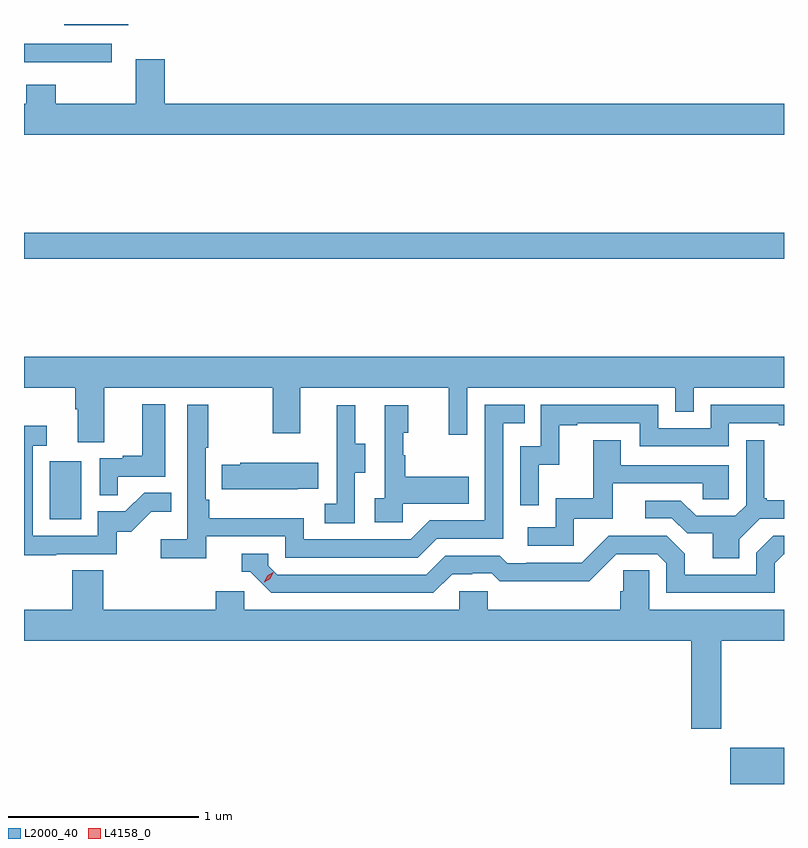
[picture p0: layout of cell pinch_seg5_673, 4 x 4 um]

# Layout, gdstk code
import gdstk
lib = gdstk.Library(unit=1e-6, precision=1e-09)
def R(c, l, rs):  # rectangles x0, y0, x1, y1
    for r in rs: c.add(gdstk.rectangle(r[:2], r[2:], *l))
def P(c, l, *ps):  # polygons
    for p in ps: c.add(gdstk.Polygon(p, *l))
L2000_40 = (2000, 40)
L4158_0 = (4158, 0)

pinch_seg5_673 = lib.new_cell('pinch_seg5_673')
R(pinch_seg5_673, L2000_40, [(1039.142,838.691,1039.424,838.882), (1035.56,840.084,1035.724,840.391), (1035.424,841.456,1039.424,841.592), (1035.424,842.49,1035.886,842.586), (1035.635,842.684,1035.973,842.691)])
P(pinch_seg5_673, L2000_40, [(1039.424,842.272),(1036.166,842.272),(1036.166,842.506),(1036.013,842.506),(1036.013,842.272),(1035.591,842.272),(1035.591,842.371),(1035.436,842.371),(1035.436,842.272),(1035.424,842.272),(1035.424,842.108),(1039.424,842.108)],
  [(1035.847,840.776),(1036.732,840.776),(1036.732,840.537),(1036.879,840.537),(1036.879,840.776),(1037.66,840.776),(1037.66,840.528),(1037.757,840.528),(1037.757,840.776),(1038.852,840.776),(1038.852,840.649),(1038.948,840.649),(1038.948,840.776),(1039.424,840.776),(1039.424,840.94),(1035.424,840.94),(1035.424,840.776),(1035.695,840.776),(1035.695,840.664),(1035.707,840.664),(1035.707,840.49),(1035.847,840.49)],
  [(1035.917,840.309),(1036.168,840.309),(1036.168,840.691),(1036.046,840.691),(1036.046,840.418),(1035.943,840.418),(1035.943,840.405),(1035.822,840.405),(1035.822,840.211),(1035.917,840.211)],
  [(1036.382,839.994),(1036.8,839.994),(1036.8,839.883),(1037.497,839.883),(1037.596,839.982),(1037.946,839.982),(1037.946,840.591),(1038.059,840.591),(1038.059,840.687),(1037.85,840.687),(1037.85,840.078),(1037.559,840.078),(1037.46,839.979),(1036.896,839.979),(1036.896,840.091),(1036.4,840.091),(1036.4,840.187),(1036.38,840.187),(1036.38,840.46),(1036.393,840.46),(1036.393,840.688),(1036.284,840.688),(1036.284,839.98),(1036.143,839.98),(1036.143,839.878),(1036.382,839.878)],
  [(1038.132,840.371),(1038.242,840.371),(1038.242,840.579),(1038.337,840.579),(1038.337,840.591),(1038.666,840.591),(1038.666,840.468),(1039.134,840.468),(1039.134,840.591),(1039.397,840.591),(1039.397,840.579),(1039.424,840.579),(1039.424,840.687),(1039.038,840.687),(1039.038,840.564),(1038.762,840.564),(1038.762,840.687),(1038.144,840.687),(1038.144,840.468),(1038.036,840.468),(1038.036,840.159),(1038.132,840.159)],
  [(1037.166,840.328),(1037.221,840.328),(1037.221,840.483),(1037.167,840.483),(1037.167,840.685),(1037.069,840.685),(1037.069,840.471),(1037.07,840.471),(1037.07,840.167),(1037.007,840.167),(1037.007,840.064),(1037.166,840.064)],
  [(1037.418,840.167),(1037.765,840.167),(1037.765,840.307),(1037.43,840.307),(1037.43,840.422),(1037.421,840.422),(1037.421,840.54),(1037.446,840.54),(1037.446,840.685),(1037.322,840.685),(1037.322,840.194),(1037.271,840.194),(1037.271,840.069),(1037.418,840.069)],
  [(1035.593,839.901),(1035.912,839.901),(1035.912,840.018),(1035.988,840.018),(1036.095,840.125),(1036.199,840.125),(1036.199,840.224),(1036.056,840.224),(1035.958,840.126),(1035.813,840.126),(1035.813,839.997),(1035.471,839.997),(1035.471,840.471),(1035.544,840.471),(1035.544,840.577),(1035.424,840.577),(1035.424,839.896),(1035.593,839.896)],
  [(1039.189,839.98),(1039.296,840.087),(1039.424,840.087),(1039.424,840.184),(1039.333,840.184),(1039.333,840.196),(1039.321,840.196),(1039.321,840.499),(1039.224,840.499),(1039.224,840.159),(1039.167,840.102),(1038.961,840.102),(1038.88,840.183),(1038.693,840.183),(1038.693,840.09),(1038.834,840.09),(1038.914,840.01),(1039.049,840.01),(1039.049,839.878),(1039.189,839.878)],
  [(1038.318,840.087),(1038.523,840.087),(1038.523,840.273),(1038.997,840.273),(1038.997,840.189),(1039.134,840.189),(1039.134,840.369),(1038.565,840.369),(1038.565,840.499),(1038.421,840.499),(1038.421,840.196),(1038.222,840.196),(1038.222,840.042),(1038.075,840.042),(1038.075,839.946),(1038.318,839.946)],
  [(1036.865,840.245),(1036.973,840.245),(1036.973,840.382),(1036.563,840.382),(1036.563,840.372),(1036.465,840.372),(1036.465,840.242),(1036.865,840.242)],
  [(1037.677,839.796),(1037.784,839.796),(1037.784,839.799),(1037.887,839.799),(1037.929,839.757),(1038.162,839.757),(1038.162,839.759),(1038.398,839.759),(1038.54,839.901),(1038.756,839.901),(1038.804,839.853),(1038.804,839.697),(1039.374,839.697),(1039.374,839.853),(1039.422,839.901),(1039.424,839.901),(1039.424,839.997),(1039.368,839.997),(1039.278,839.907),(1039.278,839.793),(1038.901,839.793),(1038.901,839.903),(1038.807,839.997),(1038.501,839.997),(1038.36,839.856),(1038.067,839.856),(1038.067,839.853),(1037.968,839.853),(1037.929,839.892),(1037.64,839.892),(1037.541,839.793),(1036.758,839.793),(1036.71,839.841),(1036.71,839.904),(1036.571,839.904),(1036.571,839.808),(1036.614,839.808),(1036.725,839.697),(1037.578,839.697)],
  [(1039.095,839.444),(1039.424,839.444),(1039.424,839.608),(1038.714,839.608),(1038.714,839.816),(1038.577,839.816),(1038.577,839.706),(1038.563,839.706),(1038.563,839.608),(1037.865,839.608),(1037.865,839.706),(1037.715,839.706),(1037.715,839.608),(1036.584,839.608),(1036.584,839.706),(1036.433,839.706),(1036.433,839.608),(1035.842,839.608),(1035.842,839.816),(1035.677,839.816),(1035.677,839.608),(1035.424,839.608),(1035.424,839.444),(1038.935,839.444),(1038.935,838.983),(1039.095,838.983)])
P(pinch_seg5_673, L4158_0, [(1036.689,839.753),(1036.689,839.753),(1036.705,839.786),(1036.736,839.805),(1036.736,839.805),(1036.736,839.805),(1036.72,839.772),(1036.689,839.753)])

lib.write_gds('pinch_seg5_673.gds')
